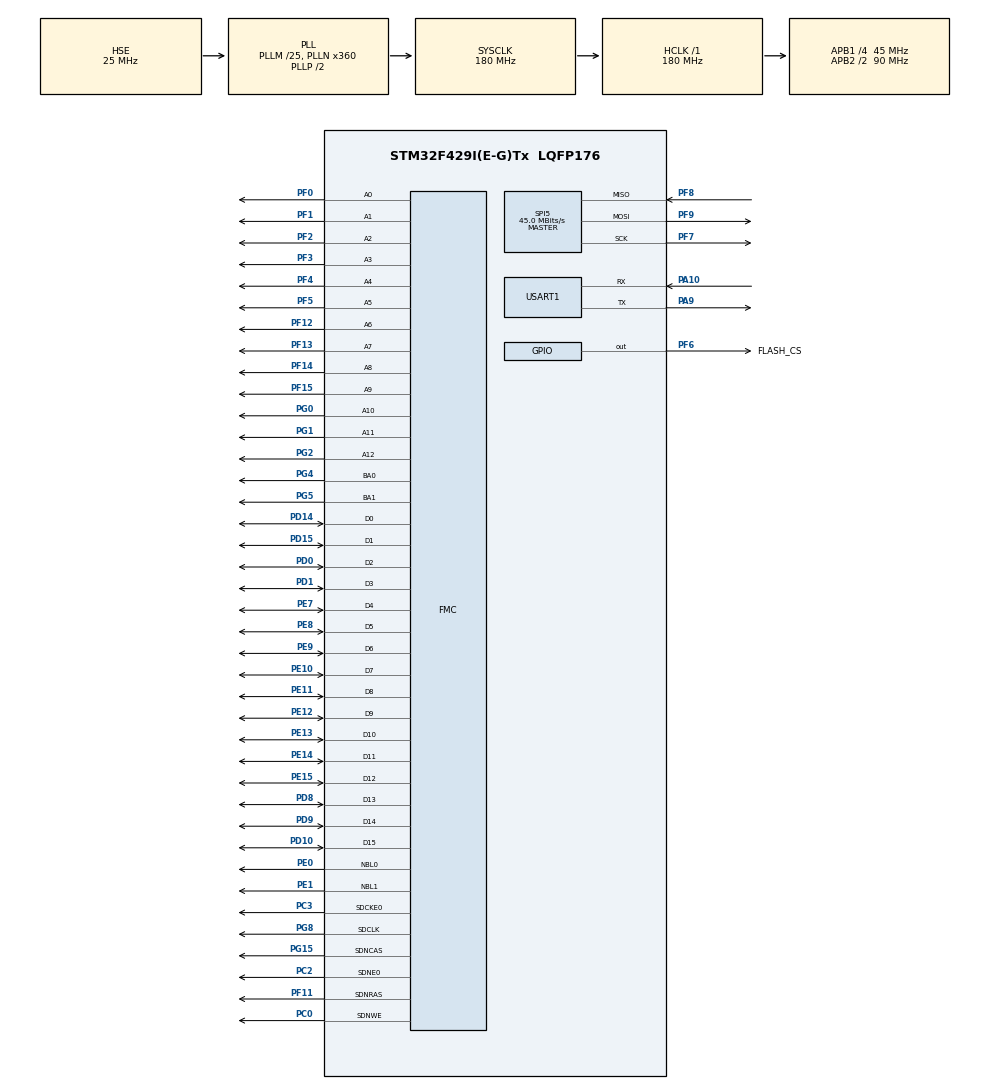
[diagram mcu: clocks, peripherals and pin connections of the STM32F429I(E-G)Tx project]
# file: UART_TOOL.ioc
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Dma.Request0=USART1_RX
Dma.USART1_RX.0.Direction=DMA_PERIPH_TO_MEMORY
Dma.USART1_RX.0.FIFOMode=DMA_FIFOMODE_DISABLE
Dma.USART1_RX.0.Instance=DMA2_Stream2
Dma.USART1_RX.0.MemDataAlignment=DMA_MDATAALIGN_BYTE
Dma.USART1_RX.0.MemInc=DMA_MINC_ENABLE
Dma.USART1_RX.0.Mode=DMA_NORMAL
Dma.USART1_RX.0.PeriphDataAlignment=DMA_PDATAALIGN_BYTE
Dma.USART1_RX.0.PeriphInc=DMA_PINC_DISABLE
Dma.USART1_RX.0.Priority=DMA_PRIORITY_HIGH
FMC.CASLatency1=FMC_SDRAM_CAS_LATENCY_3
FMC.ColumnBitsNumber1=FMC_SDRAM_COLUMN_BITS_NUM_9
FMC.ExitSelfRefreshDelay1=8
FMC.LoadToActiveDelay1=2
FMC.RCDDelay1=2
FMC.RPDelay1=2
FMC.ReadBurst1=FMC_SDRAM_RBURST_ENABLE
FMC.ReadPipeDelay1=FMC_SDRAM_RPIPE_DELAY_1
FMC.RowCycleDelay1=6
FMC.SDClockPeriod1=FMC_SDRAM_CLOCK_PERIOD_2
FMC.SelfRefreshTime1=6
FMC.WriteRecoveryTime1=4
LIBJPEG.LIBJPEG_FS_type=NoFS
Mcu.Family=STM32F4
Mcu.Name=STM32F429I(E-G)Tx
Mcu.Package=LQFP176
NVIC.DMA2_Stream2_IRQn=true\:0\:0\:false\:false\:true\:false
NVIC.PriorityGroup=NVIC_PRIORITYGROUP_4
NVIC.USART1_IRQn=true\:1\:0\:true\:false\:true\:true
PA10.Mode=Asynchronous
PA10.Signal=USART1_RX
PA9.Mode=Asynchronous
PA9.Signal=USART1_TX
PC0.Signal=FMC_SDNWE
PC2.Mode=SdramChipSelect1_1
PC2.Signal=FMC_SDNE0
PC3.Mode=SdramChipSelect1_1
PC3.Signal=FMC_SDCKE0
PD0.Signal=FMC_D2_DA2
PD1.Signal=FMC_D3_DA3
PD10.Signal=FMC_D15_DA15
PD14.Signal=FMC_D0_DA0
PD15.Signal=FMC_D1_DA1
PD8.Signal=FMC_D13_DA13
PD9.Signal=FMC_D14_DA14
PE0.Signal=FMC_NBL0
PE1.Signal=FMC_NBL1
PE10.Signal=FMC_D7_DA7
PE11.Signal=FMC_D8_DA8
PE12.Signal=FMC_D9_DA9
PE13.Signal=FMC_D10_DA10
PE14.Signal=FMC_D11_DA11
PE15.Signal=FMC_D12_DA12
PE7.Signal=FMC_D4_DA4
PE8.Signal=FMC_D5_DA5
PE9.Signal=FMC_D6_DA6
PF0.Signal=FMC_A0
PF1.Signal=FMC_A1
PF11.Signal=FMC_SDNRAS
PF12.Signal=FMC_A6
PF13.Signal=FMC_A7
PF14.Signal=FMC_A8
PF15.Signal=FMC_A9
PF2.Signal=FMC_A2
PF3.Signal=FMC_A3
PF4.Signal=FMC_A4
PF5.Signal=FMC_A5
PF6.GPIO_Label=FLASH_CS
PF6.GPIO_Speed=GPIO_SPEED_FREQ_HIGH
PF6.PinState=GPIO_PIN_SET
PF6.Signal=GPIO_Output
PF7.Mode=Full_Duplex_Master
PF7.Signal=SPI5_SCK
PF8.Mode=Full_Duplex_Master
PF8.Signal=SPI5_MISO
PF9.Mode=Full_Duplex_Master
PF9.Signal=SPI5_MOSI
PG0.Signal=FMC_A10
PG1.Signal=FMC_A11
PG15.Signal=FMC_SDNCAS
PG2.Signal=FMC_A12
PG4.Signal=FMC_A14_BA0
PG5.Signal=FMC_A15_BA1
PG8.Signal=FMC_SDCLK
PH0/OSC_IN.Mode=HSE-External-Oscillator
PH0/OSC_IN.Signal=RCC_OSC_IN
PH1/OSC_OUT.Mode=HSE-External-Oscillator
PH1/OSC_OUT.Signal=RCC_OSC_OUT
ProjectManager.HeapSize=0x200
ProjectManager.StackSize=0x400
ProjectManager.TargetToolchain=MDK-ARM V5
RCC.48MHZClocksFreq_Value=90000000
RCC.AHBFreq_Value=180000000
RCC.APB1CLKDivider=RCC_HCLK_DIV4
RCC.APB1Freq_Value=45000000
RCC.APB1TimFreq_Value=90000000
RCC.APB2CLKDivider=RCC_HCLK_DIV2
RCC.APB2Freq_Value=90000000
RCC.APB2TimFreq_Value=180000000
RCC.CortexFreq_Value=180000000
RCC.HCLKFreq_Value=180000000
RCC.HSE_VALUE=25000000
RCC.HSI_VALUE=16000000
RCC.LSE_VALUE=32768
RCC.PLLM=25
RCC.PLLN=360
RCC.PLLSourceVirtual=RCC_PLLSOURCE_HSE
RCC.SYSCLKFreq_VALUE=180000000
RCC.SYSCLKSource=RCC_SYSCLKSOURCE_PLLCLK
RCC.VCOOutputFreq_Value=360000000
SH.FMC_A0.0=FMC_A0,13b-sda1
SH.FMC_A1.0=FMC_A1,13b-sda1
SH.FMC_A10.0=FMC_A10,13b-sda1
SH.FMC_A11.0=FMC_A11,13b-sda1
SH.FMC_A12.0=FMC_A12,13b-sda1
SH.FMC_A14_BA0.0=FMC_BA0,FourSdramBanks1
SH.FMC_A15_BA1.0=FMC_BA1,FourSdramBanks1
SH.FMC_A2.0=FMC_A2,13b-sda1
SH.FMC_A3.0=FMC_A3,13b-sda1
SH.FMC_A4.0=FMC_A4,13b-sda1
SH.FMC_A5.0=FMC_A5,13b-sda1
SH.FMC_A6.0=FMC_A6,13b-sda1
SH.FMC_A7.0=FMC_A7,13b-sda1
SH.FMC_A8.0=FMC_A8,13b-sda1
SH.FMC_A9.0=FMC_A9,13b-sda1
SH.FMC_D0_DA0.0=FMC_D0,sd-16b-d1
SH.FMC_D10_DA10.0=FMC_D10,sd-16b-d1
SH.FMC_D11_DA11.0=FMC_D11,sd-16b-d1
SH.FMC_D12_DA12.0=FMC_D12,sd-16b-d1
SH.FMC_D13_DA13.0=FMC_D13,sd-16b-d1
SH.FMC_D14_DA14.0=FMC_D14,sd-16b-d1
SH.FMC_D15_DA15.0=FMC_D15,sd-16b-d1
SH.FMC_D1_DA1.0=FMC_D1,sd-16b-d1
SH.FMC_D2_DA2.0=FMC_D2,sd-16b-d1
SH.FMC_D3_DA3.0=FMC_D3,sd-16b-d1
SH.FMC_D4_DA4.0=FMC_D4,sd-16b-d1
SH.FMC_D5_DA5.0=FMC_D5,sd-16b-d1
SH.FMC_D6_DA6.0=FMC_D6,sd-16b-d1
SH.FMC_D7_DA7.0=FMC_D7,sd-16b-d1
SH.FMC_D8_DA8.0=FMC_D8,sd-16b-d1
SH.FMC_D9_DA9.0=FMC_D9,sd-16b-d1
SH.FMC_NBL0.0=FMC_NBL0,Sd2ByteEnable1
SH.FMC_NBL1.0=FMC_NBL1,Sd2ByteEnable1
SH.FMC_SDCLK.0=FMC_SDCLK,13b-sda1
SH.FMC_SDNCAS.0=FMC_SDNCAS,13b-sda1
SH.FMC_SDNRAS.0=FMC_SDNRAS,13b-sda1
SH.FMC_SDNWE.0=FMC_SDNWE,13b-sda1
SPI5.BaudRatePrescaler=SPI_BAUDRATEPRESCALER_2
SPI5.CalculateBaudRate=45.0 MBits/s
SPI5.Direction=SPI_DIRECTION_2LINES
SPI5.Mode=SPI_MODE_MASTER
SPI5.VirtualType=VM_MASTER
USART1.VirtualMode=VM_ASYNC
VP_LIBJPEG_VS_JPEGLIB.Mode=Enabled
board=custom

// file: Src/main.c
/**
  ******************************************************************************
  * @file           : main.c
  * @brief          : Main program body
  ******************************************************************************
  * This notice applies to any and all portions of this file
  * that are not between comment pairs USER CODE BEGIN and
  * USER CODE END. Other portions of this file, whether
  * inserted by the user or by software development tools
  * are owned by their respective copyright owners.
  *
  * Copyright (c) 2018 STMicroelectronics International N.V.
  * All rights reserved.
  *
  * Redistribution and use in source and binary forms, with or without
  * modification, are permitted, provided that the following conditions are met:
  *
  * 1. Redistribution of source code must retain the above copyright notice,
  *    this list of conditions and the following disclaimer.
  * 2. Redistributions in binary form must reproduce the above copyright notice,
  *    this list of conditions and the following disclaimer in the documentation
  *    and/or other materials provided with the distribution.
  * 3. Neither the name of STMicroelectronics nor the names of other
  *    contributors to this software may be used to endorse or promote products
  *    derived from this software without specific written permission.
  * 4. This software, including modifications and/or derivative works of this
  *    software, must execute solely and exclusively on microcontroller or
  *    microprocessor devices manufactured by or for STMicroelectronics.
  * 5. Redistribution and use of this software other than as permitted under
  *    this license is void and will automatically terminate your rights under
  *    this license.
  *
  * THIS SOFTWARE IS PROVIDED BY STMICROELECTRONICS AND CONTRIBUTORS "AS IS"
  * AND ANY EXPRESS, IMPLIED OR STATUTORY WARRANTIES, INCLUDING, BUT NOT
  * LIMITED TO, THE IMPLIED WARRANTIES OF MERCHANTABILITY, FITNESS FOR A
  * PARTICULAR PURPOSE AND NON-INFRINGEMENT OF THIRD PARTY INTELLECTUAL PROPERTY
  * RIGHTS ARE DISCLAIMED TO THE FULLEST EXTENT PERMITTED BY LAW. IN NO EVENT
  * SHALL STMICROELECTRONICS OR CONTRIBUTORS BE LIABLE FOR ANY DIRECT, INDIRECT,
  * INCIDENTAL, SPECIAL, EXEMPLARY, OR CONSEQUENTIAL DAMAGES (INCLUDING, BUT NOT
  * LIMITED TO, PROCUREMENT OF SUBSTITUTE GOODS OR SERVICES; LOSS OF USE, DATA,
  * OR PROFITS; OR BUSINESS INTERRUPTION) HOWEVER CAUSED AND ON ANY THEORY OF
  * LIABILITY, WHETHER IN CONTRACT, STRICT LIABILITY, OR TORT (INCLUDING
  * NEGLIGENCE OR OTHERWISE) ARISING IN ANY WAY OUT OF THE USE OF THIS SOFTWARE,
  * EVEN IF ADVISED OF THE POSSIBILITY OF SUCH DAMAGE.
  *
  ******************************************************************************
  */
#include "main.h"
#include "stm32f4xx_hal.h"
#include "libjpeg.h"

/* USER CODE BEGIN Includes */
#include "protocol.h"
#include "uart.h"
#include "flash_drv.h"
#include "c_jpeg.h"
#include "mem_map.h"
/* USER CODE END Includes */

SPI_HandleTypeDef hspi5;

UART_HandleTypeDef huart1;
DMA_HandleTypeDef hdma_usart1_rx;

SDRAM_HandleTypeDef hsdram1;

/* USER CODE BEGIN PV */
/* Private variables ---------------------------------------------------------*/
FMC_SDRAM_CommandTypeDef command;

/* USER CODE END PV */

void SystemClock_Config(void);
static void MX_GPIO_Init(void);
static void MX_DMA_Init(void);
static void MX_SPI5_Init(void);
static void MX_USART1_UART_Init(void);
static void MX_FMC_Init(void);

/* USER CODE BEGIN PFP */
/* Private function prototypes -----------------------------------------------*/
static void SDRAM_Initialization_Sequence(SDRAM_HandleTypeDef *hsdram, FMC_SDRAM_CommandTypeDef *Command);
/* USER CODE END PFP */

/* USER CODE BEGIN 0 */

uint8_t out_img_tmp[I_IMG_SIZE] __attribute__ ((at(SDRAM_O_IMG_ADDRESS)));
unsigned long out_img_size = I_IMG_SIZE;

/* USER CODE END 0 */

int main(void)
{

  /* MCU Configuration----------------------------------------------------------*/

  /* Reset of all peripherals, Initializes the Flash interface and the Systick. */
  HAL_Init();

  /* Configure the system clock */
  SystemClock_Config();

  /* Initialize all configured peripherals */
  MX_GPIO_Init();
  MX_DMA_Init();
  MX_SPI5_Init();
  MX_USART1_UART_Init();
  MX_FMC_Init();
  MX_LIBJPEG_Init();
  /* USER CODE BEGIN 2 */
    flash_init();
    SDRAM_Initialization_Sequence(&hsdram1, &command);
	protocol_init();

  /* USER CODE END 2 */

  /* Infinite loop */
  /* USER CODE BEGIN WHILE */
    uart_rec_start();
  while (1)
  {

  /* USER CODE END WHILE */

  }

}

void SystemClock_Config(void)
{

  RCC_OscInitTypeDef RCC_OscInitStruct;
  RCC_ClkInitTypeDef RCC_ClkInitStruct;

    /**Configure the main internal regulator output voltage
    */
  __HAL_RCC_PWR_CLK_ENABLE();

  __HAL_PWR_VOLTAGESCALING_CONFIG(PWR_REGULATOR_VOLTAGE_SCALE1);

    /**Initializes the CPU, AHB and APB busses clocks
    */
  RCC_OscInitStruct.OscillatorType = RCC_OSCILLATORTYPE_HSE;
  RCC_OscInitStruct.HSEState = RCC_HSE_ON;
  RCC_OscInitStruct.PLL.PLLState = RCC_PLL_ON;
  RCC_OscInitStruct.PLL.PLLSource = RCC_PLLSOURCE_HSE;
  RCC_OscInitStruct.PLL.PLLM = 25;
  RCC_OscInitStruct.PLL.PLLN = 360;
  RCC_OscInitStruct.PLL.PLLP = RCC_PLLP_DIV2;
  RCC_OscInitStruct.PLL.PLLQ = 4;
  if (HAL_RCC_OscConfig(&RCC_OscInitStruct) != HAL_OK)
  {
    _Error_Handler(__FILE__, __LINE__);
  }

    /**Activate the Over-Drive mode
    */
  if (HAL_PWREx_EnableOverDrive() != HAL_OK)
  {
    _Error_Handler(__FILE__, __LINE__);
  }

    /**Initializes the CPU, AHB and APB busses clocks
    */
  RCC_ClkInitStruct.ClockType = RCC_CLOCKTYPE_HCLK|RCC_CLOCKTYPE_SYSCLK
                              |RCC_CLOCKTYPE_PCLK1|RCC_CLOCKTYPE_PCLK2;
  RCC_ClkInitStruct.SYSCLKSource = RCC_SYSCLKSOURCE_PLLCLK;
  RCC_ClkInitStruct.AHBCLKDivider = RCC_SYSCLK_DIV1;
  RCC_ClkInitStruct.APB1CLKDivider = RCC_HCLK_DIV4;
  RCC_ClkInitStruct.APB2CLKDivider = RCC_HCLK_DIV2;

  if (HAL_RCC_ClockConfig(&RCC_ClkInitStruct, FLASH_LATENCY_5) != HAL_OK)
  {
    _Error_Handler(__FILE__, __LINE__);
  }

    /**Configure the Systick interrupt time
    */
  HAL_SYSTICK_Config(HAL_RCC_GetHCLKFreq()/1000);

    /**Configure the Systick
    */
  HAL_SYSTICK_CLKSourceConfig(SYSTICK_CLKSOURCE_HCLK);

  /* SysTick_IRQn interrupt configuration */
  HAL_NVIC_SetPriority(SysTick_IRQn, 0, 0);
}

/* SPI5 init function */
static void MX_SPI5_Init(void)
{

  /* SPI5 parameter configuration*/
  hspi5.Instance = SPI5;
  hspi5.Init.Mode = SPI_MODE_MASTER;
  hspi5.Init.Direction = SPI_DIRECTION_2LINES;
  hspi5.Init.DataSize = SPI_DATASIZE_8BIT;
  hspi5.Init.CLKPolarity = SPI_POLARITY_LOW;
  hspi5.Init.CLKPhase = SPI_PHASE_1EDGE;
  hspi5.Init.NSS = SPI_NSS_SOFT;
  hspi5.Init.BaudRatePrescaler = SPI_BAUDRATEPRESCALER_2;
  hspi5.Init.FirstBit = SPI_FIRSTBIT_MSB;
  hspi5.Init.TIMode = SPI_TIMODE_DISABLE;
  hspi5.Init.CRCCalculation = SPI_CRCCALCULATION_DISABLE;
  hspi5.Init.CRCPolynomial = 10;
  if (HAL_SPI_Init(&hspi5) != HAL_OK)
  {
    _Error_Handler(__FILE__, __LINE__);
  }

}

/* USART1 init function */
static void MX_USART1_UART_Init(void)
{

  huart1.Instance = USART1;
  huart1.Init.BaudRate = 115200;
  huart1.Init.WordLength = UART_WORDLENGTH_8B;
  huart1.Init.StopBits = UART_STOPBITS_1;
  huart1.Init.Parity = UART_PARITY_NONE;
  huart1.Init.Mode = UART_MODE_TX_RX;
  huart1.Init.HwFlowCtl = UART_HWCONTROL_NONE;
  huart1.Init.OverSampling = UART_OVERSAMPLING_16;
  if (HAL_UART_Init(&huart1) != HAL_OK)
  {
    _Error_Handler(__FILE__, __LINE__);
  }

}

static void MX_DMA_Init(void)
{
  /* DMA controller clock enable */
  __HAL_RCC_DMA2_CLK_ENABLE();

  /* DMA interrupt init */
  /* DMA2_Stream2_IRQn interrupt configuration */
  HAL_NVIC_SetPriority(DMA2_Stream2_IRQn, 0, 0);
  HAL_NVIC_EnableIRQ(DMA2_Stream2_IRQn);

}
/* FMC initialization function */
static void MX_FMC_Init(void)
{
  FMC_SDRAM_TimingTypeDef SdramTiming;

  /** Perform the SDRAM1 memory initialization sequence
  */
  hsdram1.Instance = FMC_SDRAM_DEVICE;
  /* hsdram1.Init */
  hsdram1.Init.SDBank = FMC_SDRAM_BANK1;
  hsdram1.Init.ColumnBitsNumber = FMC_SDRAM_COLUMN_BITS_NUM_9;
  hsdram1.Init.RowBitsNumber = FMC_SDRAM_ROW_BITS_NUM_13;
  hsdram1.Init.MemoryDataWidth = FMC_SDRAM_MEM_BUS_WIDTH_16;
  hsdram1.Init.InternalBankNumber = FMC_SDRAM_INTERN_BANKS_NUM_4;
  hsdram1.Init.CASLatency = FMC_SDRAM_CAS_LATENCY_3;
  hsdram1.Init.WriteProtection = FMC_SDRAM_WRITE_PROTECTION_DISABLE;
  hsdram1.Init.SDClockPeriod = FMC_SDRAM_CLOCK_PERIOD_2;
  hsdram1.Init.ReadBurst = FMC_SDRAM_RBURST_ENABLE;
  hsdram1.Init.ReadPipeDelay = FMC_SDRAM_RPIPE_DELAY_1;
  /* SdramTiming */
  SdramTiming.LoadToActiveDelay = 2;
  SdramTiming.ExitSelfRefreshDelay = 8;
  SdramTiming.SelfRefreshTime = 6;
  SdramTiming.RowCycleDelay = 6;
  SdramTiming.WriteRecoveryTime = 4;
  SdramTiming.RPDelay = 2;
  SdramTiming.RCDDelay = 2;

  if (HAL_SDRAM_Init(&hsdram1, &SdramTiming) != HAL_OK)
  {
    _Error_Handler(__FILE__, __LINE__);
  }

}

/** Configure pins as
        * Analog
        * Input
        * Output
        * EVENT_OUT
        * EXTI
*/
static void MX_GPIO_Init(void)
{

  GPIO_InitTypeDef GPIO_InitStruct;

  /* GPIO Ports Clock Enable */
  __HAL_RCC_GPIOF_CLK_ENABLE();
  __HAL_RCC_GPIOH_CLK_ENABLE();
  __HAL_RCC_GPIOC_CLK_ENABLE();
  __HAL_RCC_GPIOG_CLK_ENABLE();
  __HAL_RCC_GPIOE_CLK_ENABLE();
  __HAL_RCC_GPIOD_CLK_ENABLE();
  __HAL_RCC_GPIOA_CLK_ENABLE();

  /*Configure GPIO pin Output Level */
  HAL_GPIO_WritePin(FLASH_CS_GPIO_Port, FLASH_CS_Pin, GPIO_PIN_SET);

  /*Configure GPIO pin : FLASH_CS_Pin */
  GPIO_InitStruct.Pin = FLASH_CS_Pin;
  GPIO_InitStruct.Mode = GPIO_MODE_OUTPUT_PP;
  GPIO_InitStruct.Pull = GPIO_NOPULL;
  GPIO_InitStruct.Speed = GPIO_SPEED_FREQ_HIGH;
  HAL_GPIO_Init(FLASH_CS_GPIO_Port, &GPIO_InitStruct);

}

/* USER CODE BEGIN 4 */
/**
  * @brief  Perform the SDRAM exernal memory inialization sequence
  * @param  hsdram: SDRAM handle
  * @param  Command: Pointer to SDRAM command structure
  * @retval None
  */
#define REFRESH_COUNT       ((uint32_t)0x056A)   /* SDRAM refresh counter (90MHz SDRAM clock) */

static void SDRAM_Initialization_Sequence(SDRAM_HandleTypeDef *hsdram, FMC_SDRAM_CommandTypeDef *Command)
{
  __IO uint32_t tmpmrd =0;
  /* Step 3:  Configure a clock configuration enable command */
  Command->CommandMode 			 = FMC_SDRAM_CMD_CLK_ENABLE;
  Command->CommandTarget 		 = FMC_SDRAM_CMD_TARGET_BANK1;
  Command->AutoRefreshNumber 	 = 1;
  Command->ModeRegisterDefinition = 0;

  /* Send the command */
  HAL_SDRAM_SendCommand(hsdram, Command, 0x1000);

  /* Step 4: Insert 100 ms delay */
  HAL_Delay(100);

  /* Step 5: Configure a PALL (precharge all) command */
  Command->CommandMode 			 = FMC_SDRAM_CMD_PALL;
  Command->CommandTarget 	     = FMC_SDRAM_CMD_TARGET_BANK1;
  Command->AutoRefreshNumber 	 = 1;
  Command->ModeRegisterDefinition = 0;

  /* Send the command */
  HAL_SDRAM_SendCommand(hsdram, Command, 0x1000);

  /* Step 6 : Configure a Auto-Refresh command */
  Command->CommandMode 			 = FMC_SDRAM_CMD_AUTOREFRESH_MODE;
  Command->CommandTarget 		 = FMC_SDRAM_CMD_TARGET_BANK1;
  Command->AutoRefreshNumber 	 = 4;
  Command->ModeRegisterDefinition = 0;

  /* Send the command */
  HAL_SDRAM_SendCommand(hsdram, Command, 0x1000);

  /* Step 7: Program the external memory mode register */
  tmpmrd = (uint32_t)SDRAM_MODEREG_BURST_LENGTH_1          |
                     SDRAM_MODEREG_BURST_TYPE_SEQUENTIAL   |
                     SDRAM_MODEREG_CAS_LATENCY_3           |
                     SDRAM_MODEREG_OPERATING_MODE_STANDARD |
                     SDRAM_MODEREG_WRITEBURST_MODE_SINGLE;

  Command->CommandMode = FMC_SDRAM_CMD_LOAD_MODE;
  Command->CommandTarget 		 = FMC_SDRAM_CMD_TARGET_BANK1;
  Command->AutoRefreshNumber 	 = 1;
  Command->ModeRegisterDefinition = tmpmrd;

  /* Send the command */
  HAL_SDRAM_SendCommand(hsdram, Command, 0x1000);

  /* Step 8: Set the refresh rate counter */
  /* (15.62 us x Freq) - 20 */
  /* Set the device refresh counter */
  HAL_SDRAM_ProgramRefreshRate(hsdram, REFRESH_COUNT);
}
/* USER CODE END 4 */

void _Error_Handler(char *file, int line)
{
  while(1)
  {
  }
}

/************************ (C) COPYRIGHT STMicroelectronics *****END OF FILE****/
